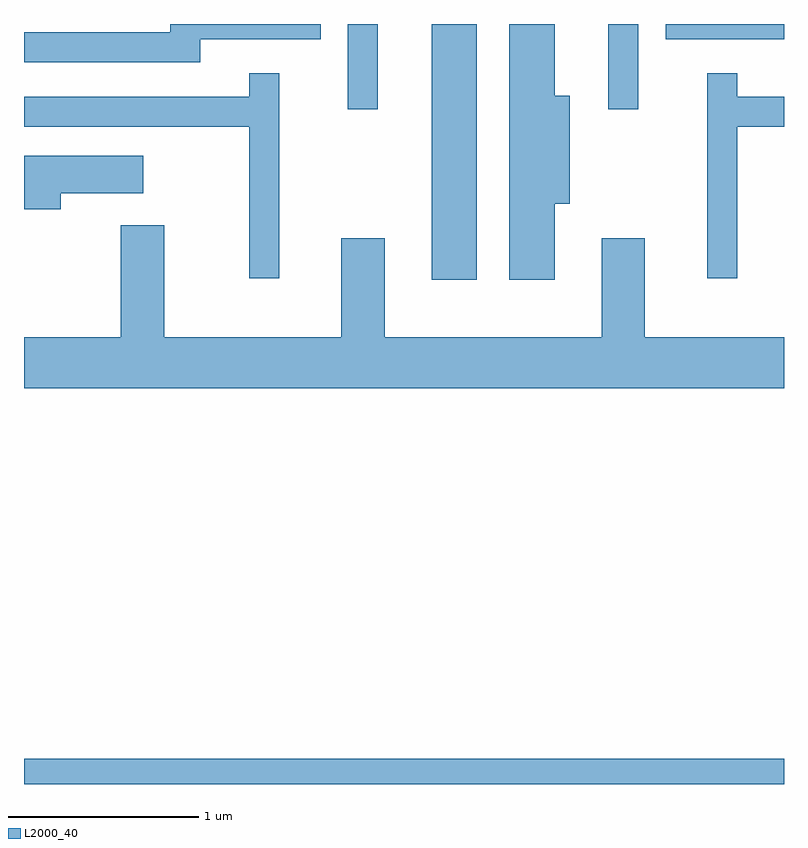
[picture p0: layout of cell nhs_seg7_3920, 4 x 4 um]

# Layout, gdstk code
import gdstk
lib = gdstk.Library(unit=1e-6, precision=1e-09)
def R(c, l, rs):  # rectangles x0, y0, x1, y1
    for r in rs: c.add(gdstk.rectangle(r[:2], r[2:], *l))
def P(c, l, *ps):  # polygons
    for p in ps: c.add(gdstk.Polygon(p, *l))
L2000_40 = (2000, 40)

nhs_seg7_3920 = lib.new_cell('nhs_seg7_3920')
R(nhs_seg7_3920, L2000_40, [(305.611,1692.252,309.611,1692.384), (307.756,1694.906,307.994,1696.252), (307.316,1695.803,307.474,1696.252), (308.686,1695.803,308.844,1696.252), (308.988,1696.171,309.611,1696.252)])
P(nhs_seg7_3920, L2000_40, [(306.539,1696.171),(307.173,1696.171),(307.173,1696.252),(306.381,1696.252),(306.381,1696.209),(305.611,1696.209),(305.611,1696.051),(306.539,1696.051)],
  [(308.404,1695.306),(308.484,1695.306),(308.484,1695.874),(308.404,1695.874),(308.404,1696.252),(308.166,1696.252),(308.166,1694.906),(308.404,1694.906)],
  [(309.364,1695.711),(309.611,1695.711),(309.611,1695.869),(309.364,1695.869),(309.364,1695.993),(309.206,1695.993),(309.206,1694.913),(309.364,1694.913)],
  [(306.954,1695.993),(306.796,1695.993),(306.796,1695.869),(305.611,1695.869),(305.611,1695.711),(306.796,1695.711),(306.796,1694.913),(306.954,1694.913)],
  [(305.804,1695.361),(306.239,1695.361),(306.239,1695.559),(305.611,1695.559),(305.611,1695.276),(305.804,1695.276)],
  [(309.611,1694.604),(308.879,1694.604),(308.879,1695.124),(308.651,1695.124),(308.651,1694.604),(307.509,1694.604),(307.509,1695.124),(307.281,1695.124),(307.281,1694.604),(306.349,1694.604),(306.349,1695.194),(306.121,1695.194),(306.121,1694.604),(305.611,1694.604),(305.611,1694.336),(309.611,1694.336)])

lib.write_gds('nhs_seg7_3920.gds')
